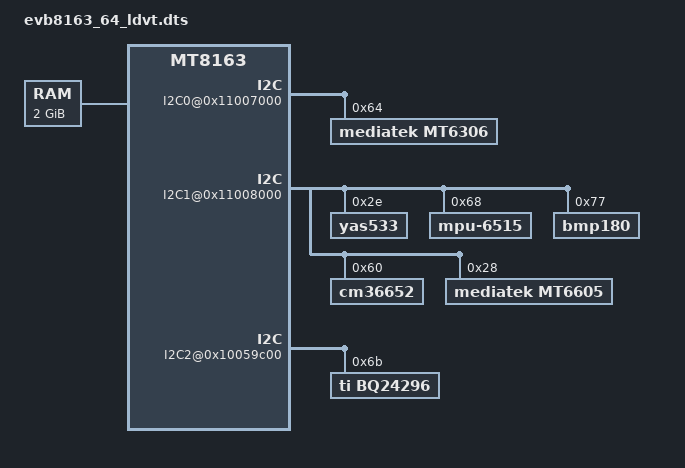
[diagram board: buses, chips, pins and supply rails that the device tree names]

/dts-v1/;

/include/ "mt8163.dtsi"

/ {
	memory@00000000 {
		device_type = "memory";
		reg = <0 0x40000000 0 0x80000000>;
	};

	bus {
		compatible = "simple-bus";
		#address-cells = <1>;
		#size-cells = <1>;
		ranges = <0 0 0 0xffffffff>;

		I2C0@0x11007000 {
			mt6306@64 {
				compatible = "mediatek,mt6306";
				reg = <0x64>;
			};
		};

		I2C1@0x11008000 {
			yas533@2e {
				compatible = "yas533";
				reg = <0x2e>;
			};

			mpu-6515@68 {
				compatible = "mpu-6515";
				reg = <0x68>;
			};

			bmp180@77 {
				compatible = "bmp180";
				reg = <0x77>;
			};

			cm36652@60 {
				compatble = "cm36652";
				reg = <0x60>;
			};

			mt6605@28 {
				compatible = "mediatek,mt6605";
				reg = <0x28>;
			};
		};

		I2C2@0x10059c00 {
			bq24296@6b {
				compatible = "ti,bq24296";
				reg = <0x6b>;
			};
		};

		MT_SOC_DL1_PCM@0x11220000 {
			compatible = "mediatek,mt_soc_pcm_dl1";
			reg = <0x11220000 0x1000>;
			interrupts = <0 142 0x8>;
			audclk-gpio = <7 0>;
			audmiso-gpio = <8 0>;
			audmosi-gpio = <9 0>;
			vowclk-gpio = <148 0>;
            extspkamp-gpio = <24 0>;			
			i2s1clk-gpio = <135 0>;
			i2s1dat-gpio = <137 0>;
			i2s1mclk-gpio = <134 0>;
			i2s1ws-gpio = <136 0>;
		};		

	};
};
